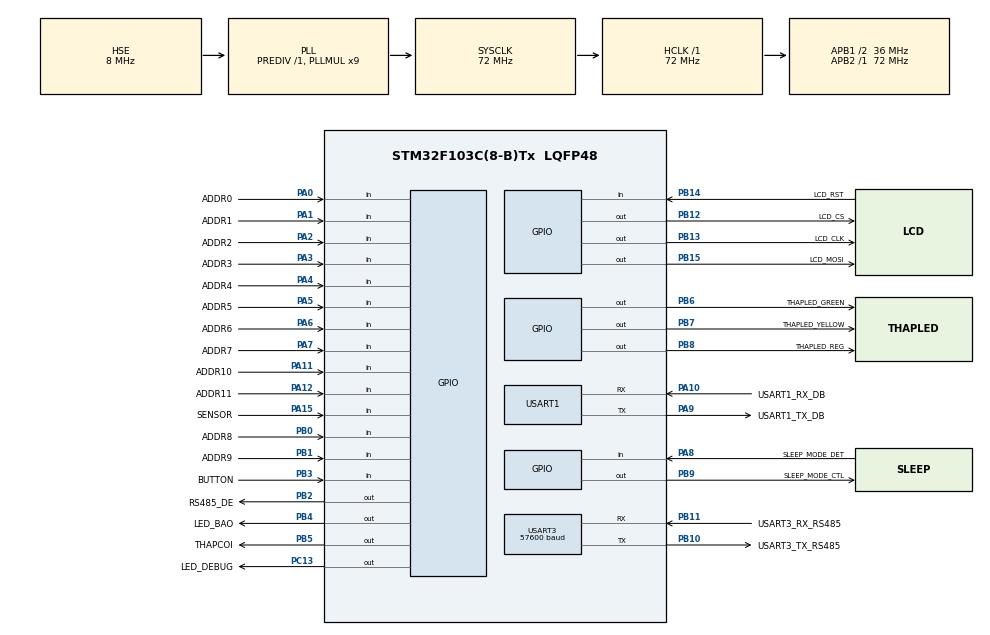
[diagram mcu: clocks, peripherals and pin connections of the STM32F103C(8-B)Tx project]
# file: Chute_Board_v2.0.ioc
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Mcu.Family=STM32F1
Mcu.Name=STM32F103C(8-B)Tx
Mcu.Package=LQFP48
NVIC.PriorityGroup=NVIC_PRIORITYGROUP_4
NVIC.TIM1_UP_IRQn=true\:0\:0\:false\:false\:true\:true\:true\:true
NVIC.TIM2_IRQn=true\:0\:0\:false\:false\:true\:true\:true\:true
NVIC.USART1_IRQn=true\:0\:0\:false\:false\:true\:true\:true\:true
NVIC.USART3_IRQn=true\:0\:0\:false\:false\:true\:true\:true\:true
PA0-WKUP.GPIO_Label=ADDR0
PA0-WKUP.GPIO_PuPd=GPIO_PULLUP
PA0-WKUP.Signal=GPIO_Input
PA1.GPIO_Label=ADDR1
PA1.GPIO_PuPd=GPIO_PULLUP
PA1.Signal=GPIO_Input
PA10.GPIO_Label=USART1_RX_DB
PA10.Mode=Asynchronous
PA10.Signal=USART1_RX
PA11.GPIO_Label=ADDR10
PA11.GPIO_PuPd=GPIO_PULLUP
PA11.Signal=GPIO_Input
PA12.GPIO_Label=ADDR11
PA12.GPIO_PuPd=GPIO_PULLUP
PA12.Signal=GPIO_Input
PA13.Mode=Serial_Wire
PA13.Signal=SYS_JTMS-SWDIO
PA14.Mode=Serial_Wire
PA14.Signal=SYS_JTCK-SWCLK
PA15.GPIO_Label=SENSOR
PA15.Signal=GPIO_Input
PA2.GPIO_Label=ADDR2
PA2.GPIO_PuPd=GPIO_PULLUP
PA2.Signal=GPIO_Input
PA3.GPIO_Label=ADDR3
PA3.GPIO_PuPd=GPIO_PULLUP
PA3.Signal=GPIO_Input
PA4.GPIO_Label=ADDR4
PA4.GPIO_PuPd=GPIO_PULLUP
PA4.Signal=GPIO_Input
PA5.GPIO_Label=ADDR5
PA5.GPIO_PuPd=GPIO_PULLUP
PA5.Signal=GPIO_Input
PA6.GPIO_Label=ADDR6
PA6.GPIO_PuPd=GPIO_PULLUP
PA6.Signal=GPIO_Input
PA7.GPIO_Label=ADDR7
PA7.GPIO_PuPd=GPIO_PULLUP
PA7.Signal=GPIO_Input
PA8.GPIO_Label=SLEEP_MODE_DET
PA8.Signal=GPIO_Input
PA9.GPIO_Label=USART1_TX_DB
PA9.Mode=Asynchronous
PA9.Signal=USART1_TX
PB0.GPIO_Label=ADDR8
PB0.GPIO_PuPd=GPIO_PULLUP
PB0.Signal=GPIO_Input
PB1.GPIO_Label=ADDR9
PB1.GPIO_PuPd=GPIO_PULLUP
PB1.Signal=GPIO_Input
PB10.GPIO_Label=USART3_TX_RS485
PB10.Mode=Asynchronous
PB10.Signal=USART3_TX
PB11.GPIO_Label=USART3_RX_RS485
PB11.Mode=Asynchronous
PB11.Signal=USART3_RX
PB12.GPIO_Label=LCD_CS
PB12.Signal=GPIO_Output
PB13.GPIO_Label=LCD_CLK
PB13.Signal=GPIO_Output
PB14.GPIO_Label=LCD_RST
PB14.GPIO_PuPd=GPIO_PULLUP
PB14.Signal=GPIO_Input
PB15.GPIO_Label=LCD_MOSI
PB15.Signal=GPIO_Output
PB2.GPIO_Label=RS485_DE
PB2.GPIO_Speed=GPIO_SPEED_FREQ_HIGH
PB2.Signal=GPIO_Output
PB3.GPIO_Label=BUTTON
PB3.GPIO_PuPd=GPIO_PULLUP
PB3.Signal=GPIO_Input
PB4.GPIO_Label=LED_BAO
PB4.Signal=GPIO_Output
PB5.GPIO_Label=THAPCOI
PB5.Signal=GPIO_Output
PB6.GPIO_Label=THAPLED_GREEN
PB6.Signal=GPIO_Output
PB7.GPIO_Label=THAPLED_YELLOW
PB7.Signal=GPIO_Output
PB8.GPIO_Label=THAPLED_REG
PB8.Signal=GPIO_Output
PB9.GPIO_Label=SLEEP_MODE_CTL
PB9.Signal=GPIO_Output
PC13-TAMPER-RTC.GPIO_Label=LED_DEBUG
PC13-TAMPER-RTC.Signal=GPIO_Output
PD0-OSC_IN.Mode=HSE-External-Oscillator
PD0-OSC_IN.Signal=RCC_OSC_IN
PD1-OSC_OUT.Mode=HSE-External-Oscillator
PD1-OSC_OUT.Signal=RCC_OSC_OUT
ProjectManager.HeapSize=0x200
ProjectManager.StackSize=0x400
ProjectManager.TargetToolchain=MDK-ARM V5.32
RCC.AHBFreq_Value=72000000
RCC.APB1CLKDivider=RCC_HCLK_DIV2
RCC.APB1Freq_Value=36000000
RCC.APB1TimFreq_Value=72000000
RCC.APB2Freq_Value=72000000
RCC.APB2TimFreq_Value=72000000
RCC.HCLKFreq_Value=72000000
RCC.PLLMUL=RCC_PLL_MUL9
RCC.PLLSourceVirtual=RCC_PLLSOURCE_HSE
RCC.SYSCLKFreq_VALUE=72000000
RCC.SYSCLKSource=RCC_SYSCLKSOURCE_PLLCLK
RCC.USBFreq_Value=72000000
TIM1.Prescaler=71
TIM2.Period=999
TIM2.Prescaler=71
USART1.VirtualMode=VM_ASYNC
USART3.BaudRate=57600
USART3.VirtualMode=VM_ASYNC
VP_TIM1_VS_ClockSourceINT.Mode=Internal
VP_TIM2_VS_ClockSourceINT.Mode=Internal
board=custom

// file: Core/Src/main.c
/* USER CODE BEGIN Header */
/**
  ******************************************************************************
  * @file           : main.c
  * @brief          : Main program body
  ******************************************************************************
  * @attention
  *
  * Copyright (c) 2024 STMicroelectronics.
  * All rights reserved.
  *
  * This software is licensed under terms that can be found in the LICENSE file
  * in the root directory of this software component.
  * If no LICENSE file comes with this software, it is provided AS-IS.
  *
  ******************************************************************************
  */
/* USER CODE END Header */
#include "main.h"

/* USER CODE BEGIN Includes */

	#include <string.h>
	#include <stdio.h>
	#include <stdlib.h>
	#include <stdbool.h>

	#include "st7920.h"
	#include "rs485.h"
	#include "user.h"
	#include "flash_f103c8t6.h"

/* USER CODE END Includes */

TIM_HandleTypeDef htim1;
TIM_HandleTypeDef htim2;

UART_HandleTypeDef huart1;
UART_HandleTypeDef huart3;

/* USER CODE BEGIN PV */

	uint8_t ID_Slave_arr[56];
	uint8_t ID_ptr, ID_Start, ID_End;
	uint16_t Count_RX_Slave[56];
	uint16_t Count_TX_Slave[56];
	uint16_t qty = 0;

	uint16_t cnt_AutoSend = 0;
	uint8_t vChute_isFull = 0;
	uint8_t chute_full_arr[56];
	uint8_t vSum_chute_full = 0;

/* USER CODE END PV */

void SystemClock_Config(void);
static void MX_GPIO_Init(void);
static void MX_TIM1_Init(void);
static void MX_USART1_UART_Init(void);
static void MX_TIM2_Init(void);
static void MX_USART3_UART_Init(void);

int main(void)
{

  /* MCU Configuration--------------------------------------------------------*/

  /* Reset of all peripherals, Initializes the Flash interface and the Systick. */
  HAL_Init();

  /* Configure the system clock */
  SystemClock_Config();

  /* Initialize all configured peripherals */
  MX_GPIO_Init();
  MX_TIM1_Init();
  MX_USART1_UART_Init();
  MX_TIM2_Init();
  MX_USART3_UART_Init();
  /* USER CODE BEGIN 2 */
		HAL_GPIO_WritePin(SLEEP_MODE_CTL_GPIO_Port,SLEEP_MODE_CTL_Pin,GPIO_PIN_RESET);

		OFF_LED_BAO();
		OFF_SPEAKER();
		ON_LED_RED();
		ON_LED_GREEN();
		ON_LED_YELLOW();

		for(uint8_t i=1; i<56; i++){
			ID_Slave_arr[i] = i;
			chute_full_arr[i] = 0;
			Count_RX_Slave[i] = 0;
			Count_TX_Slave[i] = 0;
		}
		ID_Start = 1;
		ID_End = 16;
		ID_ptr = ID_Start;

		RS485_Init(&vRS485, &huart3);

		/*INit LCD Display*/
		HAL_TIM_Base_Start_IT(&htim1);
		ST7920_Init();

		ST7920_GraphicMode(1);
		//ST7920_DrawBitmap(viettel_post);
		ST7920_DrawBitmap(Yody);

		HAL_Delay(3000);

		ST7920_GraphicMode(0);
		ST7920_Clear();

		sprintf((char*)ROW0, "YODY XIN CHAO");
		sprintf((char*)ROW1, "MACH MANG");
		sprintf((char*)ROW2, "ID: %d", vRS485.ID_Board);
		//sprintf((char*)ROW3, "YODY");

		ST7920_SendString(3, 0, (char*)ROW3);
		ST7920_SendString(2, 0, (char*)ROW2);
		ST7920_SendString(1, 0, (char*)ROW1);
		ST7920_SendString(0, 0, (char*)ROW0);

		//HAL_Delay(1000);

		//Flash_Erase(ADDRES_DATA_STORAGE);
		Get_Address_Chute();

		HAL_TIM_Base_Start_IT(&htim2);

		HAL_GPIO_WritePin(LED_DEBUG_GPIO_Port, LED_DEBUG_Pin, GPIO_PIN_RESET);

  /* USER CODE END 2 */

  /* Infinite loop */
  while (1)
  {

    /* USER CODE BEGIN 3 */
	/*----------------------------------------------------*/
		//Check_Connection_App();

	/*----------------------------------------------------*/
		Process_Chute();

	/*----------------------------------------------------*/
		//RS485_Transmit(&vRS485);

	/*----------------------------------------------------*/
		Display_LCD(CYCLE_LCD);

	/*----------------------------------------------------*/
		BlinkLed_Debug();

	/*---------------------------------------------------------------------------------*/
	/*---------------------------------------------------------------------------------*/
	/*---------------------------------------------------------------------------------*/
	/*---------------------------------------------------------------------------------*/
		if(cnt_AutoSend >= 100)
		{
			HAL_GPIO_WritePin(RS485_DE_GPIO_Port, RS485_DE_Pin, GPIO_PIN_SET);

			vRS485.txBuff[0] = 0xAB;		// header
			vRS485.txBuff[1] = 0x00;		// ID high
			vRS485.txBuff[2] =  ID_Slave_arr[ID_ptr];		// ID low
			vRS485.txBuff[3] = (qty >> 8) & 0xFF;		// qty high
			vRS485.txBuff[4] = qty & 0xFF;		// qty low
			vRS485.txBuff[5] = 0x00;		// chute status
			if(vChute_isFull == 1){
				vRS485.txBuff[7] = 0x01;		// thap coi
				vRS485.txBuff[6] = 0x01;		// thap led red
			}
			else{
				vRS485.txBuff[6] = 0x03;		// thap led green
				vRS485.txBuff[7] = 0x00;		// thap coi
			}
			vRS485.txBuff[8] = 0xFE;		// du phong
			vRS485.txBuff[9] = Cal_CheckSum(vRS485.txBuff, RS485_NUM_BYTE);		// check sum

			HAL_UART_Transmit(&huart3, vRS485.txBuff, RS485_NUM_BYTE, HAL_MAX_DELAY);
			Count_TX_Slave[vRS485.txBuff[2]]++;

			HAL_GPIO_WritePin(RS485_DE_GPIO_Port, RS485_DE_Pin, GPIO_PIN_RESET);
			//memset(vRS485.txBuff, 0xE0, RS485_NUM_BYTE);
			vRS485.cnt_mess_sent++;

			if(++ID_ptr > ID_End){
				ID_ptr = ID_Start;
				qty++;
			}

			cnt_AutoSend = 0;
		}
		vSum_chute_full = 0;
		for(uint8_t j=1; j <56; j++)
		{

			vSum_chute_full += chute_full_arr[j];
		}
		if(vSum_chute_full != 0){
			vChute_isFull = 1;
			ON_LED_BAO();
		}
		else{
			vChute_isFull = 0;
			OFF_LED_BAO();
		}

  }
  /* USER CODE END 3 */
}

void SystemClock_Config(void)
{
  RCC_OscInitTypeDef RCC_OscInitStruct = {0};
  RCC_ClkInitTypeDef RCC_ClkInitStruct = {0};

  /** Initializes the RCC Oscillators according to the specified parameters
  * in the RCC_OscInitTypeDef structure.
  */
  RCC_OscInitStruct.OscillatorType = RCC_OSCILLATORTYPE_HSE;
  RCC_OscInitStruct.HSEState = RCC_HSE_ON;
  RCC_OscInitStruct.HSEPredivValue = RCC_HSE_PREDIV_DIV1;
  RCC_OscInitStruct.HSIState = RCC_HSI_ON;
  RCC_OscInitStruct.PLL.PLLState = RCC_PLL_ON;
  RCC_OscInitStruct.PLL.PLLSource = RCC_PLLSOURCE_HSE;
  RCC_OscInitStruct.PLL.PLLMUL = RCC_PLL_MUL9;
  if (HAL_RCC_OscConfig(&RCC_OscInitStruct) != HAL_OK)
  {
    Error_Handler();
  }

  /** Initializes the CPU, AHB and APB buses clocks
  */
  RCC_ClkInitStruct.ClockType = RCC_CLOCKTYPE_HCLK|RCC_CLOCKTYPE_SYSCLK
                              |RCC_CLOCKTYPE_PCLK1|RCC_CLOCKTYPE_PCLK2;
  RCC_ClkInitStruct.SYSCLKSource = RCC_SYSCLKSOURCE_PLLCLK;
  RCC_ClkInitStruct.AHBCLKDivider = RCC_SYSCLK_DIV1;
  RCC_ClkInitStruct.APB1CLKDivider = RCC_HCLK_DIV2;
  RCC_ClkInitStruct.APB2CLKDivider = RCC_HCLK_DIV1;

  if (HAL_RCC_ClockConfig(&RCC_ClkInitStruct, FLASH_LATENCY_2) != HAL_OK)
  {
    Error_Handler();
  }
}

static void MX_TIM1_Init(void)
{

  TIM_ClockConfigTypeDef sClockSourceConfig = {0};
  TIM_MasterConfigTypeDef sMasterConfig = {0};

  htim1.Instance = TIM1;
  htim1.Init.Prescaler = 71;
  htim1.Init.CounterMode = TIM_COUNTERMODE_UP;
  htim1.Init.Period = 65535;
  htim1.Init.ClockDivision = TIM_CLOCKDIVISION_DIV1;
  htim1.Init.RepetitionCounter = 0;
  htim1.Init.AutoReloadPreload = TIM_AUTORELOAD_PRELOAD_DISABLE;
  if (HAL_TIM_Base_Init(&htim1) != HAL_OK)
  {
    Error_Handler();
  }
  sClockSourceConfig.ClockSource = TIM_CLOCKSOURCE_INTERNAL;
  if (HAL_TIM_ConfigClockSource(&htim1, &sClockSourceConfig) != HAL_OK)
  {
    Error_Handler();
  }
  sMasterConfig.MasterOutputTrigger = TIM_TRGO_RESET;
  sMasterConfig.MasterSlaveMode = TIM_MASTERSLAVEMODE_DISABLE;
  if (HAL_TIMEx_MasterConfigSynchronization(&htim1, &sMasterConfig) != HAL_OK)
  {
    Error_Handler();
  }

}

static void MX_TIM2_Init(void)
{

  TIM_ClockConfigTypeDef sClockSourceConfig = {0};
  TIM_MasterConfigTypeDef sMasterConfig = {0};

  htim2.Instance = TIM2;
  htim2.Init.Prescaler = 71;
  htim2.Init.CounterMode = TIM_COUNTERMODE_UP;
  htim2.Init.Period = 999;
  htim2.Init.ClockDivision = TIM_CLOCKDIVISION_DIV1;
  htim2.Init.AutoReloadPreload = TIM_AUTORELOAD_PRELOAD_DISABLE;
  if (HAL_TIM_Base_Init(&htim2) != HAL_OK)
  {
    Error_Handler();
  }
  sClockSourceConfig.ClockSource = TIM_CLOCKSOURCE_INTERNAL;
  if (HAL_TIM_ConfigClockSource(&htim2, &sClockSourceConfig) != HAL_OK)
  {
    Error_Handler();
  }
  sMasterConfig.MasterOutputTrigger = TIM_TRGO_RESET;
  sMasterConfig.MasterSlaveMode = TIM_MASTERSLAVEMODE_DISABLE;
  if (HAL_TIMEx_MasterConfigSynchronization(&htim2, &sMasterConfig) != HAL_OK)
  {
    Error_Handler();
  }

}

static void MX_USART1_UART_Init(void)
{

  huart1.Instance = USART1;
  huart1.Init.BaudRate = 115200;
  huart1.Init.WordLength = UART_WORDLENGTH_8B;
  huart1.Init.StopBits = UART_STOPBITS_1;
  huart1.Init.Parity = UART_PARITY_NONE;
  huart1.Init.Mode = UART_MODE_TX_RX;
  huart1.Init.HwFlowCtl = UART_HWCONTROL_NONE;
  huart1.Init.OverSampling = UART_OVERSAMPLING_16;
  if (HAL_UART_Init(&huart1) != HAL_OK)
  {
    Error_Handler();
  }

}

static void MX_USART3_UART_Init(void)
{

  huart3.Instance = USART3;
  huart3.Init.BaudRate = 57600;
  huart3.Init.WordLength = UART_WORDLENGTH_8B;
  huart3.Init.StopBits = UART_STOPBITS_1;
  huart3.Init.Parity = UART_PARITY_NONE;
  huart3.Init.Mode = UART_MODE_TX_RX;
  huart3.Init.HwFlowCtl = UART_HWCONTROL_NONE;
  huart3.Init.OverSampling = UART_OVERSAMPLING_16;
  if (HAL_UART_Init(&huart3) != HAL_OK)
  {
    Error_Handler();
  }

}

static void MX_GPIO_Init(void)
{
  GPIO_InitTypeDef GPIO_InitStruct = {0};

  /* GPIO Ports Clock Enable */
  __HAL_RCC_GPIOC_CLK_ENABLE();
  __HAL_RCC_GPIOD_CLK_ENABLE();
  __HAL_RCC_GPIOA_CLK_ENABLE();
  __HAL_RCC_GPIOB_CLK_ENABLE();

  /*Configure GPIO pin Output Level */
  HAL_GPIO_WritePin(LED_DEBUG_GPIO_Port, LED_DEBUG_Pin, GPIO_PIN_RESET);

  /*Configure GPIO pin Output Level */
  HAL_GPIO_WritePin(GPIOB, RS485_DE_Pin|LCD_CS_Pin|LCD_CLK_Pin|LCD_MOSI_Pin
                          |LED_BAO_Pin|THAPCOI_Pin|THAPLED_GREEN_Pin|THAPLED_YELLOW_Pin
                          |THAPLED_REG_Pin|SLEEP_MODE_CTL_Pin, GPIO_PIN_RESET);

  /*Configure GPIO pin : LED_DEBUG_Pin */
  GPIO_InitStruct.Pin = LED_DEBUG_Pin;
  GPIO_InitStruct.Mode = GPIO_MODE_OUTPUT_PP;
  GPIO_InitStruct.Pull = GPIO_NOPULL;
  GPIO_InitStruct.Speed = GPIO_SPEED_FREQ_LOW;
  HAL_GPIO_Init(LED_DEBUG_GPIO_Port, &GPIO_InitStruct);

  /*Configure GPIO pins : ADDR0_Pin ADDR1_Pin ADDR2_Pin ADDR3_Pin
                           ADDR4_Pin ADDR5_Pin ADDR6_Pin ADDR7_Pin
                           ADDR10_Pin ADDR11_Pin */
  GPIO_InitStruct.Pin = ADDR0_Pin|ADDR1_Pin|ADDR2_Pin|ADDR3_Pin
                          |ADDR4_Pin|ADDR5_Pin|ADDR6_Pin|ADDR7_Pin
                          |ADDR10_Pin|ADDR11_Pin;
  GPIO_InitStruct.Mode = GPIO_MODE_INPUT;
  GPIO_InitStruct.Pull = GPIO_PULLUP;
  HAL_GPIO_Init(GPIOA, &GPIO_InitStruct);

  /*Configure GPIO pins : ADDR8_Pin ADDR9_Pin LCD_RST_Pin BUTTON_Pin */
  GPIO_InitStruct.Pin = ADDR8_Pin|ADDR9_Pin|LCD_RST_Pin|BUTTON_Pin;
  GPIO_InitStruct.Mode = GPIO_MODE_INPUT;
  GPIO_InitStruct.Pull = GPIO_PULLUP;
  HAL_GPIO_Init(GPIOB, &GPIO_InitStruct);

  /*Configure GPIO pin : RS485_DE_Pin */
  GPIO_InitStruct.Pin = RS485_DE_Pin;
  GPIO_InitStruct.Mode = GPIO_MODE_OUTPUT_PP;
  GPIO_InitStruct.Pull = GPIO_NOPULL;
  GPIO_InitStruct.Speed = GPIO_SPEED_FREQ_HIGH;
  HAL_GPIO_Init(RS485_DE_GPIO_Port, &GPIO_InitStruct);

  /*Configure GPIO pins : LCD_CS_Pin LCD_CLK_Pin LCD_MOSI_Pin LED_BAO_Pin
                           THAPCOI_Pin THAPLED_GREEN_Pin THAPLED_YELLOW_Pin THAPLED_REG_Pin
                           SLEEP_MODE_CTL_Pin */
  GPIO_InitStruct.Pin = LCD_CS_Pin|LCD_CLK_Pin|LCD_MOSI_Pin|LED_BAO_Pin
                          |THAPCOI_Pin|THAPLED_GREEN_Pin|THAPLED_YELLOW_Pin|THAPLED_REG_Pin
                          |SLEEP_MODE_CTL_Pin;
  GPIO_InitStruct.Mode = GPIO_MODE_OUTPUT_PP;
  GPIO_InitStruct.Pull = GPIO_NOPULL;
  GPIO_InitStruct.Speed = GPIO_SPEED_FREQ_LOW;
  HAL_GPIO_Init(GPIOB, &GPIO_InitStruct);

  /*Configure GPIO pins : SLEEP_MODE_DET_Pin SENSOR_Pin */
  GPIO_InitStruct.Pin = SLEEP_MODE_DET_Pin|SENSOR_Pin;
  GPIO_InitStruct.Mode = GPIO_MODE_INPUT;
  GPIO_InitStruct.Pull = GPIO_NOPULL;
  HAL_GPIO_Init(GPIOA, &GPIO_InitStruct);

}

void Error_Handler(void)
{
  __disable_irq();
  while (1)
  {
  }
}
